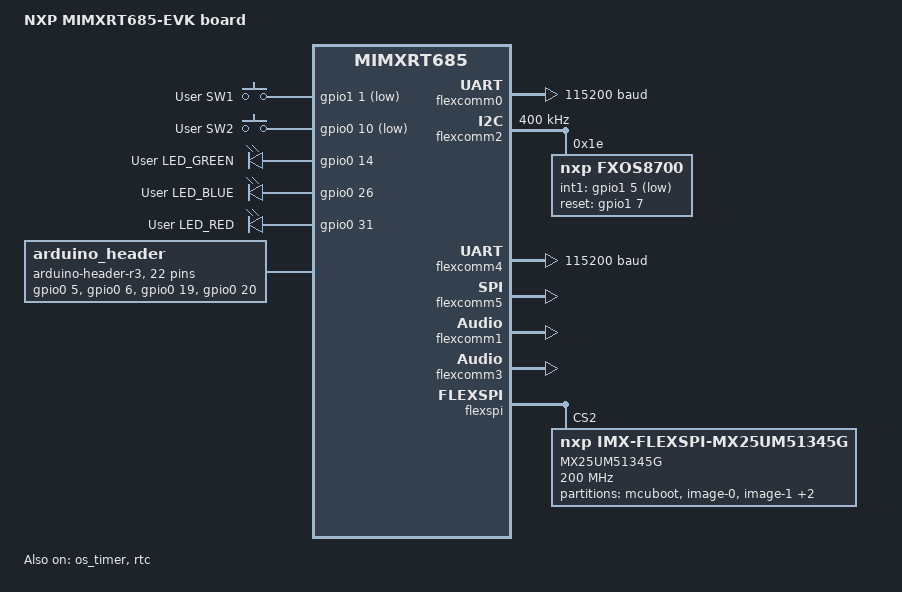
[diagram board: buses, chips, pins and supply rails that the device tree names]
/*
 * Copyright (c) 2020, NXP
 *
 * SPDX-License-Identifier: Apache-2.0
 */

/dts-v1/;

#include <nxp/nxp_rt6xx.dtsi>

/ {
	model = "NXP MIMXRT685-EVK board";
	compatible = "nxp,mimxrt685";

	aliases {
		sw0 = &user_button_1;
		sw1 = &user_button_2;
		led0 = &green_led;
		led1 = &blue_led;
		led2 = &red_led;
		usart-0 = &flexcomm0;
	};

	chosen {
		zephyr,flash-controller = &flexspi;
		zephyr,flash = &mx25um51345g;
		zephyr,code-partition = &slot0_partition;
		zephyr,sram = &sram0;
		zephyr,console = &flexcomm0;
		zephyr,shell-uart = &flexcomm0;
	};

	gpio_keys {
		compatible = "gpio-keys";
		user_button_1: button_0 {
			label = "User SW1";
			gpios = <&gpio1 1 GPIO_ACTIVE_LOW>;
		};
		user_button_2: button_1 {
			label = "User SW2";
			gpios = <&gpio0 10 GPIO_ACTIVE_LOW>;
		};
	};

	leds {
		compatible = "gpio-leds";
		green_led: led_1 {
			gpios = <&gpio0 14 0>;
			label = "User LED_GREEN";
		};
		blue_led: led_2 {
			gpios = <&gpio0 26 0>;
			label = "User LED_BLUE";
		};
		red_led: led_3 {
			gpios = <&gpio0 31 0>;
			label = "User LED_RED";
		};
	};

	arduino_header: arduino-connector {
		compatible = "arduino-header-r3";
		#gpio-cells = <2>;
		gpio-map-mask = <0xffffffff 0xffffffc0>;
		gpio-map-pass-thru = <0 0x3f>;
		gpio-map =	<0 0 &gpio0 5 0>,	/* A0 */
				<1 0 &gpio0 6 0>,	/* A1 */
				<2 0 &gpio0 19 0>,	/* A2 */
				<3 0 &gpio0 20 0>,	/* A3 */
				<4 0 &gpio0 17 0>,	/* A4 */
				<5 0 &gpio0 18 0>,	/* A5 */
				<6 0 &gpio0 30 0>,	/* D0 */
				<7 0 &gpio0 29 0>,	/* D1 */
				<8 0 &gpio0 28 0>,	/* D2 */
				<9 0 &gpio0 27 0>,	/* D3 */
				<10 0 &gpio1 0 0>,	/* D4 */
				<11 0 &gpio1 10 0>,	/* D5 */
				<12 0 &gpio1 2 0>,	/* D6 */
				<13 0 &gpio1 8 0>,	/* D7 */
				<14 0 &gpio1 9 0>,	/* D8 */
				<15 0 &gpio1 7 0>,	/* D9 */
				<16 0 &gpio1 6 0>,	/* D10 */
				<17 0 &gpio1 5 0>,	/* D11 */
				<18 0 &gpio1 4 0>,	/* D12 */
				<19 0 &gpio1 3 0>,	/* D13 */
				<20 0 &gpio0 17 0>,	/* D14 */
				<21 0 &gpio0 18 0>;	/* D15 */
	};

	power-states {
		idle: idle {
			compatible = "zephyr,power-state";
			power-state-name = "runtime-idle";
			min-residency-us = <10>;
		};
		suspend: suspend {
			compatible = "zephyr,power-state";
			power-state-name = "suspend-to-idle";
			min-residency-us = <1000>;
		};
	};
};

&cpu0 {
	cpu-power-states = <&idle &suspend>;
};

/*
 * RT600 EVK board uses OS timer as the kernel timer
 * In case we need to switch to SYSTICK timer, then
 * replace &os_timer with &systick
 */
&os_timer {
	status = "okay";
};

&rtc {
	status = "okay";
};

&flexcomm0 {
	compatible = "nxp,lpc-usart";
	status = "okay";
	current-speed = <115200>;
};

arduino_i2c: &flexcomm2 {
	compatible = "nxp,lpc-i2c";
	status = "okay";
	clock-frequency = <I2C_BITRATE_FAST>;
	#address-cells = <1>;
	#size-cells = <0>;

	fxos8700@1e {
		compatible = "nxp,fxos8700";
		reg = <0x1e>;
		label = "FXOS8700";
		int1-gpios = <&gpio1 5 GPIO_ACTIVE_LOW>;
		reset-gpios = <&gpio1 7 GPIO_ACTIVE_HIGH>;
	};
};

arduino_serial: &flexcomm4 {
	compatible = "nxp,lpc-usart";
	current-speed = <115200>;
};

arduino_spi: &flexcomm5 {
	compatible = "nxp,lpc-spi";
	status = "okay";
	#address-cells = <1>;
	#size-cells = <0>;
	dmas = <&dma0 10>, <&dma0 11>;
	dma-names = "rx", "tx";
};

/* I2S receive channel */
i2s0: &flexcomm1 {
	status = "okay";
	compatible = "nxp,lpc-i2s";
	label = "I2S_0";
	#address-cells = <1>;
	#size-cells = <0>;
	dmas = <&dma0 2>;
	dma-names = "rx";
};

/* I2S transmit channel */
i2s1: &flexcomm3 {
	status = "okay";
	compatible = "nxp,lpc-i2s";
	label = "I2S_1";
	#address-cells = <1>;
	#size-cells = <0>;
	dmas = <&dma0 7>;
	dma-names = "tx";
};

&flexspi {
	reg = <0x50134000 0x4000>, <0x18000000 DT_SIZE_M(64)>;
	mx25um51345g: mx25um51345g@2 {
		compatible = "nxp,imx-flexspi-mx25um51345g";
		size = <536870912>;
		label = "MX25UM51345G";
		reg = <2>;
		spi-max-frequency = <200000000>;
		status = "okay";
		jedec-id = [c2 81 3a];
		erase-block-size = <4096>;
		write-block-size = <1>;

		partitions {
			compatible = "fixed-partitions";
			#address-cells = <1>;
			#size-cells = <1>;

			boot_partition: partition@0 {
				label = "mcuboot";
				reg = <0x00000000 DT_SIZE_K(64)>;
			};
			slot0_partition: partition@10000 {
				label = "image-0";
				reg = <0x00010000 DT_SIZE_M(24)>;
			};
			slot1_partition: partition@1810000 {
				label = "image-1";
				reg = <0x01810000 DT_SIZE_M(24)>;
			};
			scratch_partition: partition@3010000 {
				label = "image-scratch";
				reg = <0x03010000 DT_SIZE_K(8128)>;
			};
			storage_partition: partition@3f00000 {
				label = "storage";
				reg = <0x03f00000 DT_SIZE_M(1)>;
			};
		};
	};
};

&gpio0 {
	status = "okay";
};

&gpio1 {
	status = "okay";
};

&dma0 {
	/*
	 * The total number of dma channels available is defined by
	 * FSL_FEATURE_DMA_NUMBER_OF_CHANNELS in the SoC features file.
	 * Since memory from the heap pool is allocated based on the number
	 * of DMA channels, set this property to as many channels is needed
	 * for the platform. Adjust HEAP_MEM_POOL_SIZE in case you need more
	 * memory.
	 */
	dma-channels = <20>;
	status = "okay";
};

&user_button_1 {
	status = "okay";
};

&user_button_2 {
	status = "okay";
};

&green_led {
	status = "okay";
};

&blue_led {
	status = "okay";
};

&red_led {
	status = "okay";
};
